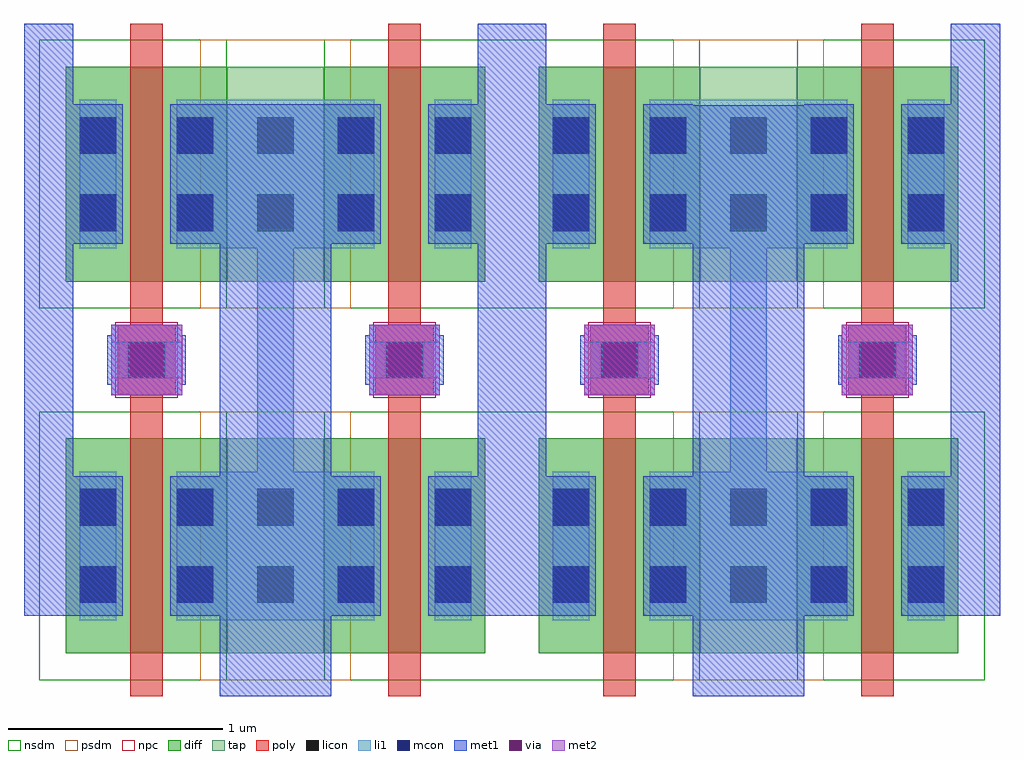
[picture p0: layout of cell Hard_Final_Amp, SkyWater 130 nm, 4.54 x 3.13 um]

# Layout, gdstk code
from math import pi, radians
import gdstk
lib = gdstk.Library(unit=1e-6, precision=1e-09)
def R(c, l, rs):  # rectangles x0, y0, x1, y1
    for r in rs: c.add(gdstk.rectangle(r[:2], r[2:], *l))
diff = (65, 20)
tap = (65, 44)
poly = (66, 20)
licon = (66, 44)
li1 = (67, 20)
mcon = (67, 44)
met1 = (68, 20)
via = (68, 44)
met2 = (69, 20)
nsdm = (93, 44)
psdm = (94, 20)
npc = (95, 20)

nfet_1 = lib.new_cell('nfet$1')
R(nfet_1, diff, [(0,0,0.75,1)])
R(nfet_1, tap, [(0.75,0,1.2,1)])
R(nfet_1, poly, [(0.3,-0.2,0.45,1.2), (0.24,1.2,0.51,1.53)])
R(nfet_1, licon, [(0.065,0.235,0.235,0.405), (0.515,0.235,0.685,0.405), (0.89,0.235,1.06,0.405), (0.065,0.595,0.235,0.765), (0.515,0.595,0.685,0.765), (0.89,0.595,1.06,0.765), (0.29,1.28,0.46,1.45)])
R(nfet_1, li1, [(0.065,0.155,0.235,0.845), (0.515,0.155,0.685,0.845), (0.89,0.155,1.06,0.845), (0.21,1.28,0.54,1.45)])
R(nfet_1, mcon, [(0.065,0.235,0.235,0.405), (0.515,0.235,0.685,0.405), (0.065,0.595,0.235,0.765), (0.515,0.595,0.685,0.765), (0.29,1.28,0.46,1.45)])
R(nfet_1, met1, [(0.035,0.175,0.265,0.825), (0.485,0.175,0.715,0.825), (0.192,1.25,0.558,1.48)])
R(nfet_1, nsdm, [(-0.125,-0.125,0.749,1.125)])
R(nfet_1, psdm, [(0.75,-0.125,1.324,1.125)])
R(nfet_1, npc, [(0.23,1.19,0.52,1.54)])

vias_gen_1 = lib.new_cell('vias_gen$1')
R(vias_gen_1, met1, [(0,0,0.33,0.33)])
R(vias_gen_1, via, [(0.09,0.09,0.24,0.24)])
R(vias_gen_1, met2, [(0,0,0.33,0.33)])

hard_final_amp = lib.new_cell('Hard_Final_Amp')
R(hard_final_amp, li1, [(-4.835,-6.285,-4.255,-5.595), (-2.635,-6.285,-2.055,-5.595), (-4.63,-5.595,-4.46,-4.555), (-2.43,-5.595,-2.26,-4.555), (-4.835,-4.555,-4.255,-3.865), (-2.635,-4.555,-2.055,-3.865)])
R(hard_final_amp, met1, [(-4.805,-6.64,-4.285,-3.885), (-2.605,-6.64,-2.085,-3.89), (-5.715,-6.265,-5.485,-3.51), (-3.605,-6.265,-3.285,-3.51), (-1.405,-6.265,-1.175,-3.51)])
hard_final_amp.add(gdstk.Reference(nfet_1, (-5.52,-6.44)))
hard_final_amp.add(gdstk.Reference(nfet_1, (-5.52,-3.71), x_reflection=True))
hard_final_amp.add(gdstk.Reference(nfet_1, (-3.57,-3.71), rotation=pi))
hard_final_amp.add(gdstk.Reference(nfet_1, (-3.57,-6.44), rotation=pi, x_reflection=True))
hard_final_amp.add(gdstk.Reference(nfet_1, (-3.32,-6.44)))
hard_final_amp.add(gdstk.Reference(nfet_1, (-3.32,-3.71), x_reflection=True))
hard_final_amp.add(gdstk.Reference(nfet_1, (-1.37,-3.71), rotation=pi))
hard_final_amp.add(gdstk.Reference(nfet_1, (-1.37,-6.44), rotation=pi, x_reflection=True))
hard_final_amp.add(gdstk.Reference(vias_gen_1, (-1.91,-5.24)))
hard_final_amp.add(gdstk.Reference(vias_gen_1, (-3.11,-5.24)))
hard_final_amp.add(gdstk.Reference(vias_gen_1, (-4.11,-5.24)))
hard_final_amp.add(gdstk.Reference(vias_gen_1, (-5.31,-5.24)))

lib.write_gds('Hard_Final_Amp.gds')
